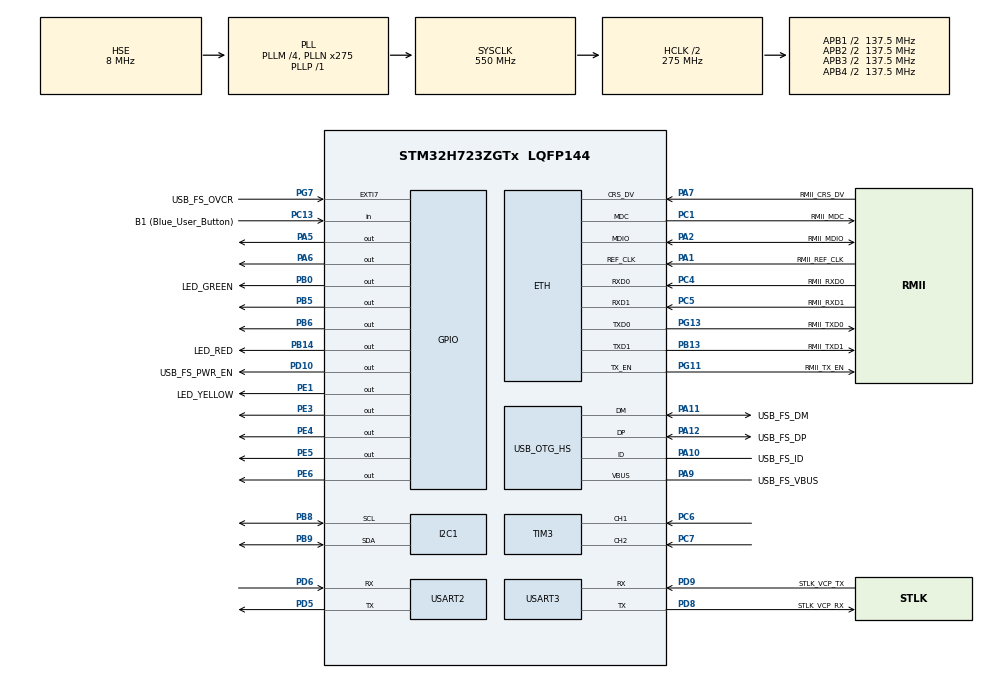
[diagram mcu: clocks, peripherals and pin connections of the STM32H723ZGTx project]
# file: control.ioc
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ETH.MediaInterface=HAL_ETH_RMII_MODE
FREERTOS.Tasks01=defaultTask,24,128,StartDefaultTask,Default,NULL,Dynamic,NULL,NULL;parsingTask,47,128,StartParsingTask,Default,NULL,Dynamic,NULL,NULL;armTask,42,256,StartArmTask,Default,NULL,Dynamic,NULL,NULL;gripperTask,40,128,StartGripperTask,Default,NULL,Dynamic,NULL,NULL;step1Task,40,128,StartStep1Task,Default,NULL,Dynamic,NULL,NULL;step2Task,40,128,startStep2Task,Default,NULL,Dynamic,NULL,NULL
FREERTOS.configUSE_NEWLIB_REENTRANT=1
I2C1.Timing=0x60404E72
Mcu.Family=STM32H7
Mcu.Name=STM32H723ZGTx
Mcu.Package=LQFP144
NVIC.PriorityGroup=NVIC_PRIORITYGROUP_4
NVIC.TIM6_DAC_IRQn=true\:15\:0\:false\:false\:true\:false\:false\:true\:true
NVIC.TimeBase=TIM6_DAC_IRQn
NVIC.TimeBaseIP=TIM6
NVIC.USART2_IRQn=true\:5\:0\:false\:false\:true\:true\:true\:true\:true
PA1.GPIO_Label=RMII_REF_CLK
PA1.Mode=RMII
PA1.Signal=ETH_REF_CLK
PA10.GPIO_Label=USB_FS_ID
PA10.Mode=OTG/Dual-Role-Device-FS
PA10.Signal=USB_OTG_HS_ID
PA11.GPIO_Label=USB_FS_DM
PA11.Mode=OTG/Dual-Role-Device-FS
PA11.Signal=USB_OTG_HS_DM
PA12.GPIO_Label=USB_FS_DP
PA12.Mode=OTG/Dual-Role-Device-FS
PA12.Signal=USB_OTG_HS_DP
PA13(JTMS/SWDIO).GPIO_Label=SWDIO
PA13(JTMS/SWDIO).Mode=Trace_Asynchronous_SW
PA13(JTMS/SWDIO).Signal=DEBUG_JTMS-SWDIO
PA14(JTCK/SWCLK).GPIO_Label=SWCLK
PA14(JTCK/SWCLK).Mode=Trace_Asynchronous_SW
PA14(JTCK/SWCLK).Signal=DEBUG_JTCK-SWCLK
PA2.GPIO_Label=RMII_MDIO
PA2.Mode=RMII
PA2.Signal=ETH_MDIO
PA5.Signal=GPIO_Output
PA6.Signal=GPIO_Output
PA7.GPIO_Label=RMII_CRS_DV
PA7.Mode=RMII
PA7.Signal=ETH_CRS_DV
PA9.GPIO_Label=USB_FS_VBUS
PA9.Mode=Activate_VBUS_FS
PA9.Signal=USB_OTG_HS_VBUS
PB0.GPIO_Label=LED_GREEN
PB0.Signal=GPIO_Output
PB13.GPIO_Label=RMII_TXD1
PB13.Mode=RMII
PB13.Signal=ETH_TXD1
PB14.GPIO_Label=LED_RED
PB14.Signal=GPIO_Output
PB3(JTDO/TRACESWO).GPIO_Label=SWO
PB3(JTDO/TRACESWO).Mode=Trace_Asynchronous_SW
PB3(JTDO/TRACESWO).Signal=DEBUG_JTDO-SWO
PB5.Signal=GPIO_Output
PB6.Signal=GPIO_Output
PB8.GPIO_Mode=GPIO_MODE_AF_OD
PB8.GPIO_Pu=GPIO_PULLUP
PB8.Mode=I2C
PB8.Signal=I2C1_SCL
PB9.GPIO_Pu=GPIO_PULLUP
PB9.Mode=I2C
PB9.Signal=I2C1_SDA
PC1.GPIO_Label=RMII_MDC
PC1.Mode=RMII
PC1.Signal=ETH_MDC
PC13.GPIO_Label=B1 (Blue_User_Button)
PC13.Signal=GPIO_Input
PC14-OSC32_IN.Mode=LSE-External-Oscillator
PC14-OSC32_IN.Signal=RCC_OSC32_IN
PC15-OSC32_OUT.Mode=LSE-External-Oscillator
PC15-OSC32_OUT.Signal=RCC_OSC32_OUT
PC4.GPIO_Label=RMII_RXD0
PC4.Mode=RMII
PC4.Signal=ETH_RXD0
PC5.GPIO_Label=RMII_RXD1
PC5.Mode=RMII
PC5.Signal=ETH_RXD1
PC6.Signal=S_TIM3_CH1
PC7.Signal=S_TIM3_CH2
PD10.GPIO_Label=USB_FS_PWR_EN
PD10.Signal=GPIO_Output
PD5.Mode=Asynchronous
PD5.Signal=USART2_TX
PD6.Mode=Asynchronous
PD6.Signal=USART2_RX
PD8.GPIO_Label=STLK_VCP_RX
PD8.Mode=Asynchronous
PD8.Signal=USART3_TX
PD9.GPIO_Label=STLK_VCP_TX
PD9.Mode=Asynchronous
PD9.Signal=USART3_RX
PE1.GPIO_Label=LED_YELLOW
PE1.Signal=GPIO_Output
PE3.Signal=GPIO_Output
PE4.Signal=GPIO_Output
PE5.Signal=GPIO_Output
PE6.Signal=GPIO_Output
PG11.GPIO_Label=RMII_TX_EN
PG11.Mode=RMII
PG11.Signal=ETH_TX_EN
PG13.GPIO_Label=RMII_TXD0
PG13.Mode=RMII
PG13.Signal=ETH_TXD0
PG7.GPIO_Label=USB_FS_OVCR
PG7.Signal=GPXTI7
PH0-OSC_IN.GPIO_Label=MCO
PH0-OSC_IN.Mode=HSE-External-Clock-Source
PH0-OSC_IN.Signal=RCC_OSC_IN
PH1-OSC_OUT.Signal=RCC_OSC_OUT
ProjectManager.HeapSize=0x200
ProjectManager.StackSize=0x400
ProjectManager.TargetToolchain=STM32CubeIDE
RCC.ADCFreq_Value=76000000
RCC.APB1Freq_Value=137500000
RCC.APB2Freq_Value=137500000
RCC.APB3Freq_Value=137500000
RCC.APB4Freq_Value=137500000
RCC.CortexFreq_Value=550000000
RCC.D1PPRE=RCC_APB3_DIV2
RCC.D2PPRE1=RCC_APB1_DIV2
RCC.D2PPRE2=RCC_APB2_DIV2
RCC.D3PPRE=RCC_APB4_DIV2
RCC.DIVM1=4
RCC.DIVM2=1
RCC.DIVN1=275
RCC.DIVN2=19
RCC.DIVP1=1
RCC.DIVQ1=4
RCC.HCLKFreq_Value=275000000
RCC.HPRE=RCC_HCLK_DIV2
RCC.HSE_VALUE=8000000
RCC.PLLFRACN=0
RCC.PLLSourceVirtual=RCC_PLLSOURCE_HSE
RCC.SYSCLKFreq_VALUE=550000000
RCC.SYSCLKSource=RCC_SYSCLKSOURCE_PLLCLK
RCC.USBCLockSelection=RCC_USBCLKSOURCE_HSI48
RCC.USBFreq_Value=48000000
SH.S_TIM3_CH1.0=TIM3_CH1,Encoder_Interface
SH.S_TIM3_CH2.0=TIM3_CH2,Encoder_Interface
TIM1.Prescaler=71
TIM3.EncoderMode=TIM_ENCODERMODE_TI12
TIM4.Prescaler=71
USART2.VirtualMode-Asynchronous=VM_ASYNC
USART3.VirtualMode-Asynchronous=VM_ASYNC
VP_FREERTOS_VS_CMSIS_V2.Mode=CMSIS_V2
VP_SYS_VS_tim6.Mode=TIM6
VP_TIM1_VS_ClockSourceINT.Mode=Internal
VP_TIM4_VS_ClockSourceINT.Mode=Internal
board=NUCLEO-H723ZG

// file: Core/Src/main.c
/* USER CODE BEGIN Header */
/**
  ******************************************************************************
  * @file           : main.c
  * @brief          : Main program body
  ******************************************************************************
  * @attention
  *
  * Copyright (c) 2024 STMicroelectronics.
  * All rights reserved.
  *
  * This software is licensed under terms that can be found in the LICENSE file
  * in the root directory of this software component.
  * If no LICENSE file comes with this software, it is provided AS-IS.
  *
  ******************************************************************************
  */
/* USER CODE END Header */
#include "main.h"
#include "string.h"
#include "cmsis_os.h"

/* USER CODE BEGIN Includes */
//servo board driver
#include "pca9685.h"
//for IK
#include <math.h>
#include <stdbool.h>

#include <stdio.h>
#include <stdlib.h>
#include <stdio.h>
//#include <iostream>
//#include <cstring>
//#include <cmath>

/* USER CODE END Includes */

/* USER CODE BEGIN PD */

// Define constants for the links inverse kinematics
#define L12 15.0  // Length of link 1
#define L23 15.0   // Length of link 2
#define L34 8.5   // Length of link 3

#define STEPS_PER_REVS 4096 //motor and step type defined
#define HALF_STEPS 8
#define MIN_TO_US (60*1000000)
#define NUM_SEQ (STEPS_PER_REVS/HALF_STEPS)

//define pins for first stepper
// ---- for synchronized step
#define M1_IN1_PIN GPIO_PIN_3
#define M1_IN1_PORT GPIOE
#define M1_IN2_PIN GPIO_PIN_4
#define M1_IN2_PORT GPIOE
#define M1_IN3_PIN GPIO_PIN_5
#define M1_IN3_PORT GPIOE
#define M1_IN4_PIN GPIO_PIN_6
#define M1_IN4_PORT GPIOE
int stepNumber;          // which step the motor is on

//define pins for second stepper
#define M2_IN1_PIN GPIO_PIN_5
#define M2_IN1_PORT GPIOA
#define M2_IN2_PIN GPIO_PIN_6
#define M2_IN2_PORT GPIOA
#define M2_IN3_PIN GPIO_PIN_5
#define M2_IN3_PORT GPIOB
#define M2_IN4_PIN GPIO_PIN_6
#define M2_IN4_PORT GPIOB

#define TOTAL_REV_ANGLE 360

/* USER CODE END PD */

#if defined ( __ICCARM__ ) /*!< IAR Compiler */
#pragma location=0x30000000
ETH_DMADescTypeDef  DMARxDscrTab[ETH_RX_DESC_CNT]; /* Ethernet Rx DMA Descriptors */
#pragma location=0x30000200
ETH_DMADescTypeDef  DMATxDscrTab[ETH_TX_DESC_CNT]; /* Ethernet Tx DMA Descriptors */

#elif defined ( __CC_ARM )  /* MDK ARM Compiler */

__attribute__((at(0x30000000))) ETH_DMADescTypeDef  DMARxDscrTab[ETH_RX_DESC_CNT]; /* Ethernet Rx DMA Descriptors */
__attribute__((at(0x30000200))) ETH_DMADescTypeDef  DMATxDscrTab[ETH_TX_DESC_CNT]; /* Ethernet Tx DMA Descriptors */

#elif defined ( __GNUC__ ) /* GNU Compiler */
ETH_DMADescTypeDef DMARxDscrTab[ETH_RX_DESC_CNT] __attribute__((section(".RxDecripSection"))); /* Ethernet Rx DMA Descriptors */
ETH_DMADescTypeDef DMATxDscrTab[ETH_TX_DESC_CNT] __attribute__((section(".TxDecripSection")));   /* Ethernet Tx DMA Descriptors */

#endif

ETH_TxPacketConfig TxConfig;

ETH_HandleTypeDef heth;

I2C_HandleTypeDef hi2c1;

TIM_HandleTypeDef htim1;
TIM_HandleTypeDef htim3;
TIM_HandleTypeDef htim4;

UART_HandleTypeDef huart2;
UART_HandleTypeDef huart3;

/* Definitions for defaultTask */
osThreadId_t defaultTaskHandle;
const osThreadAttr_t defaultTask_attributes = {
  .name = "defaultTask",
  .stack_size = 128 * 4,
  .priority = (osPriority_t) osPriorityNormal,
};
/* Definitions for parsingTask */
osThreadId_t parsingTaskHandle;
const osThreadAttr_t parsingTask_attributes = {
  .name = "parsingTask",
  .stack_size = 128 * 4,
  .priority = (osPriority_t) osPriorityHigh7,
};
/* Definitions for armTask */
osThreadId_t armTaskHandle;
const osThreadAttr_t armTask_attributes = {
  .name = "armTask",
  .stack_size = 256 * 4,
  .priority = (osPriority_t) osPriorityHigh2,
};
/* Definitions for gripperTask */
osThreadId_t gripperTaskHandle;
const osThreadAttr_t gripperTask_attributes = {
  .name = "gripperTask",
  .stack_size = 128 * 4,
  .priority = (osPriority_t) osPriorityHigh,
};
/* Definitions for step1Task */
osThreadId_t step1TaskHandle;
const osThreadAttr_t step1Task_attributes = {
  .name = "step1Task",
  .stack_size = 128 * 4,
  .priority = (osPriority_t) osPriorityHigh,
};
/* Definitions for step2Task */
osThreadId_t step2TaskHandle;
const osThreadAttr_t step2Task_attributes = {
  .name = "step2Task",
  .stack_size = 128 * 4,
  .priority = (osPriority_t) osPriorityHigh,
};
/* USER CODE BEGIN PV */

//for handling UART and StartArmTask synchronization
osSemaphoreId_t armTaskSemaphore;
//semaphore for stepper motor control
osSemaphoreId_t stepperTask1Semaphore;
osSemaphoreId_t stepperTask2Semaphore;

//buffer to store UART messages
uint8_t uartRxBuffer[17];

/* USER CODE END PV */

void SystemClock_Config(void);
static void MX_GPIO_Init(void);
static void MX_ETH_Init(void);
static void MX_USART3_UART_Init(void);
static void MX_USB_OTG_HS_USB_Init(void);
static void MX_TIM1_Init(void);
static void MX_I2C1_Init(void);
static void MX_USART2_UART_Init(void);
static void MX_TIM3_Init(void);
static void MX_TIM4_Init(void);
void StartDefaultTask(void *argument);
void StartParsingTask(void *argument);
void StartArmTask(void *argument);
void StartGripperTask(void *argument);
void StartStep1Task(void *argument);
void startStep2Task(void *argument);

/* USER CODE BEGIN 0 */

// Function to calculate inverse kinematics
bool ikinematics(float positionx, float positiony, float gamma, float *J1, float *J2, float *J3) {
    float xe = positionx;
    float ye = positiony;
    float g = gamma;

    // Calculate the position P3
    float x3 = xe - (L34 * cosf(g * M_PI / 180.0));  // Convert gamma to radians
    float y3 = ye - (L34 * sinf(g * M_PI / 180.0));
    float C = sqrtf(x3 * x3 + y3 * y3);

    if ((L12 + L23) > C) {
        // Calculate angles a and B
        float a = acosf((L12 * L12 + L23 * L23 - C * C) / (2 * L12 * L23));
        float B = acosf((L12 * L12 + C * C - L23 * L23) / (2 * L12 * C));

        // Joint angles for elbow-down configuration
        float J1a = ((atan2f(y3, x3) - B)* 180.0 / M_PI);
        float J2a = 180.0 - (a * 180.0 / M_PI);
        float J3a = g - J1a - J2a;

        // Joint angles for elbow-up configuration
        float J1b = ((atan2f(y3, x3) + B)* 180.0 / M_PI);
        float J2b = -(180.0 - (a * 180.0 / M_PI));
        float J3b = g - J1b - J2b;

        // Output the results (for example, printing to the serial monitor)
//        printf("The joint 1, 2, and 3 angles are (%f, %f, %f) respectively for elbow-down configuration.\n", J1a, J2a, J3a);
//        printf("The joint 1, 2, and 3 angles are (%f, %f, %f) respectively for elbow-up configuration.\n", J1b, J2b, J3b);

        //return A-Configuration for now
        *J1 = J1a;
        *J2 = J2a;
        *J3 = J3a;

        //return success
        return true;

    } else {
//        printf("     Dimension error!\n");
//        printf("     End-effector is outside the workspace.\n");
    	return false;
    }
}

//delay function for stepper motor control
void delay(uint16_t us)
{
	//init counter to 0, wait for it to reach designated val,
	__HAL_TIM_SET_COUNTER(&htim1, 0);
	while(__HAL_TIM_GET_COUNTER(&htim1) < us);

}

//functions as delay (lower delay = faster, higher delay = slower)
//min speed 1 rpm, max speed ~13 rpm, want to go from microseconds/step (us) to rev/min
void set_rpm(int rpm)
{
//	delay(MIN_TO_US/(STEPS_PER_REVS*rpm));

//	osDelay(MIN_TO_US/(STEPS_PER_REVS*rpm));
//	osDelay(pdMS_TO_TICKS(500));
//	osDelay(MIN_TO_US / (STEPS_PER_REVS * rpm) / 1000); // Convert µs to ms

	uint32_t delay_us = (60 * 1000000) / (STEPS_PER_REVS * rpm);
	delay(delay_us); // Use microsecond-precision delay
}

void motorDelay(uint32_t delay)
{
//    __HAL_TIM_SET_COUNTER(&htim1, 0);
//    while (__HAL_TIM_GET_COUNTER(&htim1) < delay);
	  //works for synchro between motors
      osDelay(pdMS_TO_TICKS(delay / 1000));  // Convert µs to RTOS ticks
}

void motor2Delay(uint32_t delay)
{
//    __HAL_TIM_SET_COUNTER(&htim4, 0);
//    while (__HAL_TIM_GET_COUNTER(&htim4) < delay);
      osDelay(pdMS_TO_TICKS(delay / 1000));  // Convert µs to RTOS ticks
}

void motorOff()
{
    // Switch off the idle current to the motor
    // Otherwise L298N module will heat up
    HAL_GPIO_WritePin(M1_IN1_PORT, M1_IN1_PIN, GPIO_PIN_RESET); // IN1
    HAL_GPIO_WritePin(M1_IN2_PORT, M1_IN2_PIN, GPIO_PIN_RESET); // IN2
    HAL_GPIO_WritePin(M1_IN3_PORT, M1_IN3_PIN, GPIO_PIN_RESET); // IN3
    HAL_GPIO_WritePin(M1_IN4_PORT, M1_IN4_PIN, GPIO_PIN_RESET); // IN4

    HAL_GPIO_WritePin(M2_IN1_PORT, M2_IN1_PIN, GPIO_PIN_RESET); // IN1
    HAL_GPIO_WritePin(M2_IN2_PORT, M2_IN2_PIN, GPIO_PIN_RESET); // IN2
    HAL_GPIO_WritePin(M2_IN3_PORT, M2_IN3_PIN, GPIO_PIN_RESET); // IN3
    HAL_GPIO_WritePin(M2_IN4_PORT, M2_IN4_PIN, GPIO_PIN_RESET); // IN4
}

void stepCCV (int steps, uint16_t delay, GPIO_TypeDef* IN1_PORT, uint16_t IN1_PIN, GPIO_TypeDef* IN2_PORT, uint16_t IN2_PIN, GPIO_TypeDef* IN3_PORT, uint16_t IN3_PIN, GPIO_TypeDef* IN4_PORT, uint16_t IN4_PIN)
{
//	for (int x = 0; x < steps; x++) {
//		switch (x % 4) {
//			case 0: // Energize IN4
//				HAL_GPIO_WritePin(IN1_PORT, IN1_PIN, GPIO_PIN_RESET);
//				HAL_GPIO_WritePin(IN2_PORT, IN2_PIN, GPIO_PIN_RESET);
//				HAL_GPIO_WritePin(IN3_PORT, IN3_PIN, GPIO_PIN_SET);
//				HAL_GPIO_WritePin(IN4_PORT, IN4_PIN, GPIO_PIN_RESET);
//				break;
//			case 1: // Energize IN3
//				HAL_GPIO_WritePin(IN1_PORT, IN1_PIN, GPIO_PIN_RESET);
//				HAL_GPIO_WritePin(IN2_PORT, IN2_PIN, GPIO_PIN_SET);
//				HAL_GPIO_WritePin(IN3_PORT, IN3_PIN, GPIO_PIN_RESET);
//				HAL_GPIO_WritePin(IN4_PORT, IN4_PIN, GPIO_PIN_RESET);
//				break;
//			case 2: // Energize IN2
//				HAL_GPIO_WritePin(IN1_PORT, IN1_PIN, GPIO_PIN_RESET);
//				HAL_GPIO_WritePin(IN2_PORT, IN2_PIN, GPIO_PIN_RESET);
//				HAL_GPIO_WritePin(IN3_PORT, IN3_PIN, GPIO_PIN_RESET);
//				HAL_GPIO_WritePin(IN4_PORT, IN4_PIN, GPIO_PIN_SET);
//				break;
//			case 3: // Energize IN1
//				HAL_GPIO_WritePin(IN1_PORT, IN1_PIN, GPIO_PIN_SET);
//				HAL_GPIO_WritePin(IN2_PORT, IN2_PIN, GPIO_PIN_RESET);
//				HAL_GPIO_WritePin(IN3_PORT, IN3_PIN, GPIO_PIN_RESET);
//				HAL_GPIO_WritePin(IN4_PORT, IN4_PIN, GPIO_PIN_RESET);
//				break;
//		}
//		motorDelay(delay); // Delay between steps
//	}
	for (int x = 0; x < steps; x++) {
		switch (x % 4) {
			case 0: // Energize IN4
				HAL_GPIO_WritePin(IN1_PORT, IN1_PIN, GPIO_PIN_RESET);
				HAL_GPIO_WritePin(IN2_PORT, IN2_PIN, GPIO_PIN_SET);
				HAL_GPIO_WritePin(IN3_PORT, IN3_PIN, GPIO_PIN_SET);
				HAL_GPIO_WritePin(IN4_PORT, IN4_PIN, GPIO_PIN_RESET);
				break;
			case 1: // Energize IN3
				HAL_GPIO_WritePin(IN1_PORT, IN1_PIN, GPIO_PIN_RESET);
				HAL_GPIO_WritePin(IN2_PORT, IN2_PIN, GPIO_PIN_SET);
				HAL_GPIO_WritePin(IN3_PORT, IN3_PIN, GPIO_PIN_RESET);
				HAL_GPIO_WritePin(IN4_PORT, IN4_PIN, GPIO_PIN_SET);
				break;
			case 2: // Energize IN2
				HAL_GPIO_WritePin(IN1_PORT, IN1_PIN, GPIO_PIN_SET);
				HAL_GPIO_WritePin(IN2_PORT, IN2_PIN, GPIO_PIN_RESET);
				HAL_GPIO_WritePin(IN3_PORT, IN3_PIN, GPIO_PIN_RESET);
				HAL_GPIO_WritePin(IN4_PORT, IN4_PIN, GPIO_PIN_SET);
				break;
			case 3: // Energize IN1
				HAL_GPIO_WritePin(IN1_PORT, IN1_PIN, GPIO_PIN_SET);
				HAL_GPIO_WritePin(IN2_PORT, IN2_PIN, GPIO_PIN_RESET);
				HAL_GPIO_WritePin(IN3_PORT, IN3_PIN, GPIO_PIN_SET);
				HAL_GPIO_WritePin(IN4_PORT, IN4_PIN, GPIO_PIN_RESET);
				break;
		}
		motorDelay(delay); // Delay between steps
	}

}

void stepCV (int steps, uint16_t delay, GPIO_TypeDef* IN1_PORT, uint16_t IN1_PIN, GPIO_TypeDef* IN2_PORT, uint16_t IN2_PIN, GPIO_TypeDef* IN3_PORT, uint16_t IN3_PIN, GPIO_TypeDef* IN4_PORT, uint16_t IN4_PIN)
{
//    for (int x = 0; x < steps; x++) {
//        switch (x % 4) {
//            case 0: // Energize IN1
//                HAL_GPIO_WritePin(IN1_PORT, IN1_PIN, GPIO_PIN_SET);
//                HAL_GPIO_WritePin(IN2_PORT, IN2_PIN, GPIO_PIN_RESET);
//                HAL_GPIO_WritePin(IN3_PORT, IN3_PIN, GPIO_PIN_RESET);
//                HAL_GPIO_WritePin(IN4_PORT, IN4_PIN, GPIO_PIN_RESET);
//                break;
//            case 1: // Energize IN2
//                HAL_GPIO_WritePin(IN1_PORT, IN1_PIN, GPIO_PIN_RESET);
//                HAL_GPIO_WritePin(IN2_PORT, IN2_PIN, GPIO_PIN_RESET);
//                HAL_GPIO_WritePin(IN3_PORT, IN3_PIN, GPIO_PIN_RESET);
//                HAL_GPIO_WritePin(IN4_PORT, IN4_PIN, GPIO_PIN_SET);
//                break;
//            case 2: // Energize IN3
//                HAL_GPIO_WritePin(IN1_PORT, IN1_PIN, GPIO_PIN_RESET);
//                HAL_GPIO_WritePin(IN2_PORT, IN2_PIN, GPIO_PIN_SET);
//                HAL_GPIO_WritePin(IN3_PORT, IN3_PIN, GPIO_PIN_RESET);
//                HAL_GPIO_WritePin(IN4_PORT, IN4_PIN, GPIO_PIN_RESET);
//                break;
//            case 3: // Energize IN4
//                HAL_GPIO_WritePin(IN1_PORT, IN1_PIN, GPIO_PIN_RESET);
//                HAL_GPIO_WritePin(IN2_PORT, IN2_PIN, GPIO_PIN_RESET);
//                HAL_GPIO_WritePin(IN3_PORT, IN3_PIN, GPIO_PIN_SET);
//                HAL_GPIO_WritePin(IN4_PORT, IN4_PIN, GPIO_PIN_RESET);
//                break;
//        }
//        motorDelay(delay); // Delay between steps
//    }

	//working
//	for (int x = 0; x < steps; x++) {
//		switch (x % 4) {
//			case 0: // Energize IN4
//				HAL_GPIO_WritePin(IN1_PORT, IN1_PIN, GPIO_PIN_RESET);
//				HAL_GPIO_WritePin(IN2_PORT, IN2_PIN, GPIO_PIN_RESET);
//				HAL_GPIO_WritePin(IN3_PORT, IN3_PIN, GPIO_PIN_SET);
//				HAL_GPIO_WritePin(IN4_PORT, IN4_PIN, GPIO_PIN_RESET);
//				break;
//			case 1: // Energize IN3
//				HAL_GPIO_WritePin(IN1_PORT, IN1_PIN, GPIO_PIN_SET);
//				HAL_GPIO_WritePin(IN2_PORT, IN2_PIN, GPIO_PIN_RESET);
//				HAL_GPIO_WritePin(IN3_PORT, IN3_PIN, GPIO_PIN_RESET);
//				HAL_GPIO_WritePin(IN4_PORT, IN4_PIN, GPIO_PIN_RESET);
//				break;
//			case 2: // Energize IN2
//				HAL_GPIO_WritePin(IN1_PORT, IN1_PIN, GPIO_PIN_RESET);
//				HAL_GPIO_WritePin(IN2_PORT, IN2_PIN, GPIO_PIN_RESET);
//				HAL_GPIO_WritePin(IN3_PORT, IN3_PIN, GPIO_PIN_RESET);
//				HAL_GPIO_WritePin(IN4_PORT, IN4_PIN, GPIO_PIN_SET);
//				break;
//			case 3: // Energize IN1
//				HAL_GPIO_WritePin(IN1_PORT, IN1_PIN, GPIO_PIN_RESET);
//				HAL_GPIO_WritePin(IN2_PORT, IN2_PIN, GPIO_PIN_SET);
//				HAL_GPIO_WritePin(IN3_PORT, IN3_PIN, GPIO_PIN_RESET);
//				HAL_GPIO_WritePin(IN4_PORT, IN4_PIN, GPIO_PIN_RESET);
//				break;
//		}
//		motorDelay(delay); // Delay between steps
//	}

	for (int x = 0; x < steps; x++) {
		switch (x % 4) {
			case 0: // Energize IN4
				HAL_GPIO_WritePin(IN1_PORT, IN1_PIN, GPIO_PIN_RESET);
				HAL_GPIO_WritePin(IN2_PORT, IN2_PIN, GPIO_PIN_SET);
				HAL_GPIO_WritePin(IN3_PORT, IN3_PIN, GPIO_PIN_SET);
				HAL_GPIO_WritePin(IN4_PORT, IN4_PIN, GPIO_PIN_RESET);
				break;
			case 1: // Energize IN3
				HAL_GPIO_WritePin(IN1_PORT, IN1_PIN, GPIO_PIN_SET);
				HAL_GPIO_WritePin(IN2_PORT, IN2_PIN, GPIO_PIN_RESET);
				HAL_GPIO_WritePin(IN3_PORT, IN3_PIN, GPIO_PIN_SET);
				HAL_GPIO_WritePin(IN4_PORT, IN4_PIN, GPIO_PIN_RESET);
				break;
			case 2: // Energize IN2
				HAL_GPIO_WritePin(IN1_PORT, IN1_PIN, GPIO_PIN_SET);
				HAL_GPIO_WritePin(IN2_PORT, IN2_PIN, GPIO_PIN_RESET);
				HAL_GPIO_WritePin(IN3_PORT, IN3_PIN, GPIO_PIN_RESET);
				HAL_GPIO_WritePin(IN4_PORT, IN4_PIN, GPIO_PIN_SET);
				break;
			case 3: // Energize IN1
				HAL_GPIO_WritePin(IN1_PORT, IN1_PIN, GPIO_PIN_RESET);
				HAL_GPIO_WritePin(IN2_PORT, IN2_PIN, GPIO_PIN_SET);
				HAL_GPIO_WritePin(IN3_PORT, IN3_PIN, GPIO_PIN_RESET);
				HAL_GPIO_WritePin(IN4_PORT, IN4_PIN, GPIO_PIN_SET);
				break;
		}
		motorDelay(delay); // Delay between steps
	}
}

void step2CCV (int steps, uint16_t delay, GPIO_TypeDef* IN1_PORT, uint16_t IN1_PIN, GPIO_TypeDef* IN2_PORT, uint16_t IN2_PIN, GPIO_TypeDef* IN3_PORT, uint16_t IN3_PIN, GPIO_TypeDef* IN4_PORT, uint16_t IN4_PIN)
{

	for (int x = 0; x < steps; x++) {
		switch (x % 4) {
			case 0: // Energize IN4
				HAL_GPIO_WritePin(IN1_PORT, IN1_PIN, GPIO_PIN_RESET);
				HAL_GPIO_WritePin(IN2_PORT, IN2_PIN, GPIO_PIN_SET);
				HAL_GPIO_WritePin(IN3_PORT, IN3_PIN, GPIO_PIN_SET);
				HAL_GPIO_WritePin(IN4_PORT, IN4_PIN, GPIO_PIN_RESET);
				break;
			case 1: // Energize IN3
				HAL_GPIO_WritePin(IN1_PORT, IN1_PIN, GPIO_PIN_RESET);
				HAL_GPIO_WritePin(IN2_PORT, IN2_PIN, GPIO_PIN_SET);
				HAL_GPIO_WritePin(IN3_PORT, IN3_PIN, GPIO_PIN_RESET);
				HAL_GPIO_WritePin(IN4_PORT, IN4_PIN, GPIO_PIN_SET);
				break;
			case 2: // Energize IN2
				HAL_GPIO_WritePin(IN1_PORT, IN1_PIN, GPIO_PIN_SET);
				HAL_GPIO_WritePin(IN2_PORT, IN2_PIN, GPIO_PIN_RESET);
				HAL_GPIO_WritePin(IN3_PORT, IN3_PIN, GPIO_PIN_RESET);
				HAL_GPIO_WritePin(IN4_PORT, IN4_PIN, GPIO_PIN_SET);
				break;
			case 3: // Energize IN1
				HAL_GPIO_WritePin(IN1_PORT, IN1_PIN, GPIO_PIN_SET);
				HAL_GPIO_WritePin(IN2_PORT, IN2_PIN, GPIO_PIN_RESET);
				HAL_GPIO_WritePin(IN3_PORT, IN3_PIN, GPIO_PIN_SET);
				HAL_GPIO_WritePin(IN4_PORT, IN4_PIN, GPIO_PIN_RESET);
				break;
		}
		motor2Delay(delay); // Delay between steps
	}

}

void step2CV (int steps, uint16_t delay, GPIO_TypeDef* IN1_PORT, uint16_t IN1_PIN, GPIO_TypeDef* IN2_PORT, uint16_t IN2_PIN, GPIO_TypeDef* IN3_PORT, uint16_t IN3_PIN, GPIO_TypeDef* IN4_PORT, uint16_t IN4_PIN)
{
//	for (int x = 0; x < steps; x++) {
//		switch (x % 4) {
//			case 0: // Energize IN4
//				HAL_GPIO_WritePin(IN1_PORT, IN1_PIN, GPIO_PIN_RESET);
//				HAL_GPIO_WritePin(IN2_PORT, IN2_PIN, GPIO_PIN_RESET);
//				HAL_GPIO_WritePin(IN3_PORT, IN3_PIN, GPIO_PIN_SET);
//				HAL_GPIO_WritePin(IN4_PORT, IN4_PIN, GPIO_PIN_RESET);
//				break;
//			case 1: // Energize IN3
//				HAL_GPIO_WritePin(IN1_PORT, IN1_PIN, GPIO_PIN_SET);
//				HAL_GPIO_WritePin(IN2_PORT, IN2_PIN, GPIO_PIN_RESET);
//				HAL_GPIO_WritePin(IN3_PORT, IN3_PIN, GPIO_PIN_RESET);
//				HAL_GPIO_WritePin(IN4_PORT, IN4_PIN, GPIO_PIN_RESET);
//				break;
//			case 2: // Energize IN2
//				HAL_GPIO_WritePin(IN1_PORT, IN1_PIN, GPIO_PIN_RESET);
//				HAL_GPIO_WritePin(IN2_PORT, IN2_PIN, GPIO_PIN_RESET);
//				HAL_GPIO_WritePin(IN3_PORT, IN3_PIN, GPIO_PIN_RESET);
//				HAL_GPIO_WritePin(IN4_PORT, IN4_PIN, GPIO_PIN_SET);
//				break;
//			case 3: // Energize IN1
//				HAL_GPIO_WritePin(IN1_PORT, IN1_PIN, GPIO_PIN_RESET);
//				HAL_GPIO_WritePin(IN2_PORT, IN2_PIN, GPIO_PIN_SET);
//				HAL_GPIO_WritePin(IN3_PORT, IN3_PIN, GPIO_PIN_RESET);
//				HAL_GPIO_WritePin(IN4_PORT, IN4_PIN, GPIO_PIN_RESET);
//				break;
//		}
//		motor2Delay(delay); // Delay between steps
//	}

	for (int x = 0; x < steps; x++) {
		switch (x % 4) {
			case 0: // Energize IN4
				HAL_GPIO_WritePin(IN1_PORT, IN1_PIN, GPIO_PIN_RESET);
				HAL_GPIO_WritePin(IN2_PORT, IN2_PIN, GPIO_PIN_SET);
				HAL_GPIO_WritePin(IN3_PORT, IN3_PIN, GPIO_PIN_SET);
				HAL_GPIO_WritePin(IN4_PORT, IN4_PIN, GPIO_PIN_RESET);
				break;
			case 1: // Energize IN3
				HAL_GPIO_WritePin(IN1_PORT, IN1_PIN, GPIO_PIN_SET);
				HAL_GPIO_WritePin(IN2_PORT, IN2_PIN, GPIO_PIN_RESET);
				HAL_GPIO_WritePin(IN3_PORT, IN3_PIN, GPIO_PIN_SET);
				HAL_GPIO_WritePin(IN4_PORT, IN4_PIN, GPIO_PIN_RESET);
				break;
			case 2: // Energize IN2
				HAL_GPIO_WritePin(IN1_PORT, IN1_PIN, GPIO_PIN_SET);
				HAL_GPIO_WritePin(IN2_PORT, IN2_PIN, GPIO_PIN_RESET);
				HAL_GPIO_WritePin(IN3_PORT, IN3_PIN, GPIO_PIN_RESET);
				HAL_GPIO_WritePin(IN4_PORT, IN4_PIN, GPIO_PIN_SET);
				break;
			case 3: // Energize IN1
				HAL_GPIO_WritePin(IN1_PORT, IN1_PIN, GPIO_PIN_RESET);
				HAL_GPIO_WritePin(IN2_PORT, IN2_PIN, GPIO_PIN_SET);
				HAL_GPIO_WritePin(IN3_PORT, IN3_PIN, GPIO_PIN_RESET);
				HAL_GPIO_WritePin(IN4_PORT, IN4_PIN, GPIO_PIN_SET);
				break;
		}
		motor2Delay(delay); // Delay between steps
	}
}

/*
//controlling motor with angle specified
void step_angle_control(float angle, int direction, int rpm)
{
	//rotating 360 degrees in 512 sequences of 8 steps each
	float anglesPerSeq = TOTAL_REV_ANGLE/NUM_SEQ;

	int numSeq = (int)(angle/anglesPerSeq);

	//direction control
	for (int seq=0; seq<numSeq; seq++)
	{
		if (direction == 0)  // for clockwise
		{
			for (int step=7; step>=0; step--) {
				half_stepper_control(step);
				set_rpm(rpm);
			}
		}
		else if (direction == 1)  // for anti-clockwise
		{
			for (int step=0; step<=7; step++)
			{
				half_stepper_control(step);
				set_rpm(rpm);
			}
		}
	}
}
*/

/*
//keep track of current stepper angle
float currAngle = 0;
void Stepper_rotate (int angle, int rpm)
{
	int deltaAngle = 0;
	deltaAngle = angle-currAngle;  // calculate the angle by which the motor needed to be rotated
	if (deltaAngle > 0.71)  // CW
	{
		step_angle_control(deltaAngle, 0, rpm);
		currAngle = angle;  // save the angle as current angle
	}
	else if (deltaAngle < 0.71) // CCW
	{
		deltaAngle = -(deltaAngle);
		step_angle_control(deltaAngle, 1, rpm);
		currAngle = angle;
	}
}
*/

/* UART Interrupt Callback */
void HAL_UART_RxCpltCallback(UART_HandleTypeDef *huart) {
    if (huart->Instance == USART2) {
        if(huart->ErrorCode == HAL_UART_ERROR_NONE) {
        	//release arm task
            osSemaphoreRelease(armTaskSemaphore);
        }
        //potentially resetting UART reception after buffer has been cleared
        HAL_UART_Receive_IT(&huart2, uartRxBuffer, sizeof(uartRxBuffer));
    }
}

//clear buffer after every input
void clearBuffer(uint8_t *buffer, size_t size) {
	memset(buffer, 0, size);
}

/* USER CODE END 0 */

int main(void)
{

  /* MCU Configuration--------------------------------------------------------*/

  /* Reset of all peripherals, Initializes the Flash interface and the Systick. */
  HAL_Init();

  /* Configure the system clock */
  SystemClock_Config();

  /* Initialize all configured peripherals */
  MX_GPIO_Init();
  MX_ETH_Init();
  MX_USART3_UART_Init();
  MX_USB_OTG_HS_USB_Init();
  MX_TIM1_Init();
  MX_I2C1_Init();
  MX_USART2_UART_Init();
  MX_TIM3_Init();
  MX_TIM4_Init();
  /* USER CODE BEGIN 2 */

  //start timer
  HAL_TIM_Base_Start(&htim1);
  HAL_TIM_Base_Start(&htim4);

  //enable UART interrupt to receive messages
//  uint8_t uartRxBuffer[30];
  HAL_UART_Receive_IT(&huart2, uartRxBuffer, sizeof(uartRxBuffer));

  //enable encoder mode timer
  HAL_TIM_Encoder_Start(&htim3, TIM_CHANNEL_ALL);

  /* USER CODE END 2 */

  /* Init scheduler */
  osKernelInitialize();

  /* USER CODE BEGIN RTOS_SEMAPHORES */
  /* add semaphores, ... */

  //global semaphore, used for UART and StartArmTask Synchronization
  armTaskSemaphore = osSemaphoreNew(1, 0, NULL);
  //semaphore used for stepper tasks control
  stepperTask1Semaphore = osSemaphoreNew(1, 0, NULL);
  stepperTask2Semaphore = osSemaphoreNew(1, 0, NULL);

  /* USER CODE END RTOS_SEMAPHORES */

  /* Create the thread(s) */
  /* creation of defaultTask */
  defaultTaskHandle = osThreadNew(StartDefaultTask, NULL, &defaultTask_attributes);

  /* creation of parsingTask */
  parsingTaskHandle = osThreadNew(StartParsingTask, NULL, &parsingTask_attributes);

  /* creation of armTask */
  armTaskHandle = osThreadNew(StartArmTask, NULL, &armTask_attributes);

  /* creation of gripperTask */
  gripperTaskHandle = osThreadNew(StartGripperTask, NULL, &gripperTask_attributes);

  /* creation of step1Task */
  step1TaskHandle = osThreadNew(StartStep1Task, NULL, &step1Task_attributes);

  /* creation of step2Task */
  step2TaskHandle = osThreadNew(startStep2Task, NULL, &step2Task_attributes);

  /* Start scheduler */
  osKernelStart();

  /* We should never get here as control is now taken by the scheduler */
  /* Infinite loop */
  /* USER CODE BEGIN WHILE */
  while (1)
  {
	  //freeRTOS tasks used instead
    /* USER CODE END WHILE */

  }
}

void SystemClock_Config(void)
{
  RCC_OscInitTypeDef RCC_OscInitStruct = {0};
  RCC_ClkInitTypeDef RCC_ClkInitStruct = {0};

  /** Supply configuration update enable
  */
  HAL_PWREx_ConfigSupply(PWR_LDO_SUPPLY);

  /** Configure the main internal regulator output voltage
  */
  __HAL_PWR_VOLTAGESCALING_CONFIG(PWR_REGULATOR_VOLTAGE_SCALE0);

  while(!__HAL_PWR_GET_FLAG(PWR_FLAG_VOSRDY)) {}

  /** Initializes the RCC Oscillators according to the specified parameters
  * in the RCC_OscInitTypeDef structure.
  */
  RCC_OscInitStruct.OscillatorType = RCC_OSCILLATORTYPE_HSI48|RCC_OSCILLATORTYPE_HSE;
  RCC_OscInitStruct.HSEState = RCC_HSE_BYPASS;
  RCC_OscInitStruct.HSI48State = RCC_HSI48_ON;
  RCC_OscInitStruct.PLL.PLLState = RCC_PLL_ON;
  RCC_OscInitStruct.PLL.PLLSource = RCC_PLLSOURCE_HSE;
  RCC_OscInitStruct.PLL.PLLM = 4;
  RCC_OscInitStruct.PLL.PLLN = 275;
  RCC_OscInitStruct.PLL.PLLP = 1;
  RCC_OscInitStruct.PLL.PLLQ = 4;
  RCC_OscInitStruct.PLL.PLLR = 2;
  RCC_OscInitStruct.PLL.PLLRGE = RCC_PLL1VCIRANGE_1;
  RCC_OscInitStruct.PLL.PLLVCOSEL = RCC_PLL1VCOWIDE;
  RCC_OscInitStruct.PLL.PLLFRACN = 0;
  if (HAL_RCC_OscConfig(&RCC_OscInitStruct) != HAL_OK)
  {
    Error_Handler();
  }

  /** Initializes the CPU, AHB and APB buses clocks
  */
  RCC_ClkInitStruct.ClockType = RCC_CLOCKTYPE_HCLK|RCC_CLOCKTYPE_SYSCLK
                              |RCC_CLOCKTYPE_PCLK1|RCC_CLOCKTYPE_PCLK2
                              |RCC_CLOCKTYPE_D3PCLK1|RCC_CLOCKTYPE_D1PCLK1;
  RCC_ClkInitStruct.SYSCLKSource = RCC_SYSCLKSOURCE_PLLCLK;
  RCC_ClkInitStruct.SYSCLKDivider = RCC_SYSCLK_DIV1;
  RCC_ClkInitStruct.AHBCLKDivider = RCC_HCLK_DIV2;
  RCC_ClkInitStruct.APB3CLKDivider = RCC_APB3_DIV2;
  RCC_ClkInitStruct.APB1CLKDivider = RCC_APB1_DIV2;
  RCC_ClkInitStruct.APB2CLKDivider = RCC_APB2_DIV2;
  RCC_ClkInitStruct.APB4CLKDivider = RCC_APB4_DIV2;

  if (HAL_RCC_ClockConfig(&RCC_ClkInitStruct, FLASH_LATENCY_3) != HAL_OK)
  {
    Error_Handler();
  }
}

static void MX_ETH_Init(void)
{

   static uint8_t MACAddr[6];

  heth.Instance = ETH;
  MACAddr[0] = 0x00;
  MACAddr[1] = 0x80;
  MACAddr[2] = 0xE1;
  MACAddr[3] = 0x00;
  MACAddr[4] = 0x00;
  MACAddr[5] = 0x00;
  heth.Init.MACAddr = &MACAddr[0];
  heth.Init.MediaInterface = HAL_ETH_RMII_MODE;
  heth.Init.TxDesc = DMATxDscrTab;
  heth.Init.RxDesc = DMARxDscrTab;
  heth.Init.RxBuffLen = 1524;

  if (HAL_ETH_Init(&heth) != HAL_OK)
  {
    Error_Handler();
  }

  memset(&TxConfig, 0 , sizeof(ETH_TxPacketConfig));
  TxConfig.Attributes = ETH_TX_PACKETS_FEATURES_CSUM | ETH_TX_PACKETS_FEATURES_CRCPAD;
  TxConfig.ChecksumCtrl = ETH_CHECKSUM_IPHDR_PAYLOAD_INSERT_PHDR_CALC;
  TxConfig.CRCPadCtrl = ETH_CRC_PAD_INSERT;

}

static void MX_I2C1_Init(void)
{

  hi2c1.Instance = I2C1;
  hi2c1.Init.Timing = 0x60404E72;
  hi2c1.Init.OwnAddress1 = 0;
  hi2c1.Init.AddressingMode = I2C_ADDRESSINGMODE_7BIT;
  hi2c1.Init.DualAddressMode = I2C_DUALADDRESS_DISABLE;
  hi2c1.Init.OwnAddress2 = 0;
  hi2c1.Init.OwnAddress2Masks = I2C_OA2_NOMASK;
  hi2c1.Init.GeneralCallMode = I2C_GENERALCALL_DISABLE;
  hi2c1.Init.NoStretchMode = I2C_NOSTRETCH_DISABLE;
  if (HAL_I2C_Init(&hi2c1) != HAL_OK)
  {
    Error_Handler();
  }

  /** Configure Analogue filter
  */
  if (HAL_I2CEx_ConfigAnalogFilter(&hi2c1, I2C_ANALOGFILTER_ENABLE) != HAL_OK)
  {
    Error_Handler();
  }

  /** Configure Digital filter
  */
  if (HAL_I2CEx_ConfigDigitalFilter(&hi2c1, 0) != HAL_OK)
  {
    Error_Handler();
  }

}

static void MX_TIM1_Init(void)
{

  TIM_ClockConfigTypeDef sClockSourceConfig = {0};
  TIM_MasterConfigTypeDef sMasterConfig = {0};

  htim1.Instance = TIM1;
  htim1.Init.Prescaler = 71;
  htim1.Init.CounterMode = TIM_COUNTERMODE_UP;
  htim1.Init.Period = 65535;
  htim1.Init.ClockDivision = TIM_CLOCKDIVISION_DIV1;
  htim1.Init.RepetitionCounter = 0;
  htim1.Init.AutoReloadPreload = TIM_AUTORELOAD_PRELOAD_DISABLE;
  if (HAL_TIM_Base_Init(&htim1) != HAL_OK)
  {
    Error_Handler();
  }
  sClockSourceConfig.ClockSource = TIM_CLOCKSOURCE_INTERNAL;
  if (HAL_TIM_ConfigClockSource(&htim1, &sClockSourceConfig) != HAL_OK)
  {
    Error_Handler();
  }
  sMasterConfig.MasterOutputTrigger = TIM_TRGO_RESET;
  sMasterConfig.MasterOutputTrigger2 = TIM_TRGO2_RESET;
  sMasterConfig.MasterSlaveMode = TIM_MASTERSLAVEMODE_DISABLE;
  if (HAL_TIMEx_MasterConfigSynchronization(&htim1, &sMasterConfig) != HAL_OK)
  {
    Error_Handler();
  }

}

static void MX_TIM3_Init(void)
{

  TIM_Encoder_InitTypeDef sConfig = {0};
  TIM_MasterConfigTypeDef sMasterConfig = {0};

  /* USER CODE BEGIN TIM3_Init 1 */
  //for stepper encoder ----------------
  /* USER CODE END TIM3_Init 1 */
  htim3.Instance = TIM3;
  htim3.Init.Prescaler = 0;
  htim3.Init.CounterMode = TIM_COUNTERMODE_UP;
  htim3.Init.Period = 65535;
  htim3.Init.ClockDivision = TIM_CLOCKDIVISION_DIV1;
  htim3.Init.AutoReloadPreload = TIM_AUTORELOAD_PRELOAD_DISABLE;
  sConfig.EncoderMode = TIM_ENCODERMODE_TI12;
  sConfig.IC1Polarity = TIM_ICPOLARITY_RISING;
  sConfig.IC1Selection = TIM_ICSELECTION_DIRECTTI;
  sConfig.IC1Prescaler = TIM_ICPSC_DIV1;
  sConfig.IC1Filter = 0;
  sConfig.IC2Polarity = TIM_ICPOLARITY_RISING;
  sConfig.IC2Selection = TIM_ICSELECTION_DIRECTTI;
  sConfig.IC2Prescaler = TIM_ICPSC_DIV1;
  sConfig.IC2Filter = 0;
  if (HAL_TIM_Encoder_Init(&htim3, &sConfig) != HAL_OK)
  {
    Error_Handler();
  }
  sMasterConfig.MasterOutputTrigger = TIM_TRGO_RESET;
  sMasterConfig.MasterSlaveMode = TIM_MASTERSLAVEMODE_DISABLE;
  if (HAL_TIMEx_MasterConfigSynchronization(&htim3, &sMasterConfig) != HAL_OK)
  {
    Error_Handler();
  }

}

static void MX_TIM4_Init(void)
{

  TIM_ClockConfigTypeDef sClockSourceConfig = {0};
  TIM_MasterConfigTypeDef sMasterConfig = {0};

  htim4.Instance = TIM4;
  htim4.Init.Prescaler = 71;
  htim4.Init.CounterMode = TIM_COUNTERMODE_UP;
  htim4.Init.Period = 65535;
  htim4.Init.ClockDivision = TIM_CLOCKDIVISION_DIV1;
  htim4.Init.AutoReloadPreload = TIM_AUTORELOAD_PRELOAD_DISABLE;
  if (HAL_TIM_Base_Init(&htim4) != HAL_OK)
  {
    Error_Handler();
  }
  sClockSourceConfig.ClockSource = TIM_CLOCKSOURCE_INTERNAL;
  if (HAL_TIM_ConfigClockSource(&htim4, &sClockSourceConfig) != HAL_OK)
  {
    Error_Handler();
  }
  sMasterConfig.MasterOutputTrigger = TIM_TRGO_RESET;
  sMasterConfig.MasterSlaveMode = TIM_MASTERSLAVEMODE_DISABLE;
  if (HAL_TIMEx_MasterConfigSynchronization(&htim4, &sMasterConfig) != HAL_OK)
  {
    Error_Handler();
  }

}

static void MX_USART2_UART_Init(void)
{

  huart2.Instance = USART2;
  huart2.Init.BaudRate = 115200;
  huart2.Init.WordLength = UART_WORDLENGTH_8B;
  huart2.Init.StopBits = UART_STOPBITS_1;
  huart2.Init.Parity = UART_PARITY_NONE;
  huart2.Init.Mode = UART_MODE_TX_RX;
  huart2.Init.HwFlowCtl = UART_HWCONTROL_NONE;
  huart2.Init.OverSampling = UART_OVERSAMPLING_16;
  huart2.Init.OneBitSampling = UART_ONE_BIT_SAMPLE_DISABLE;
  huart2.Init.ClockPrescaler = UART_PRESCALER_DIV1;
  huart2.AdvancedInit.AdvFeatureInit = UART_ADVFEATURE_NO_INIT;
  if (HAL_UART_Init(&huart2) != HAL_OK)
  {
    Error_Handler();
  }
  if (HAL_UARTEx_SetTxFifoThreshold(&huart2, UART_TXFIFO_THRESHOLD_1_8) != HAL_OK)
  {
    Error_Handler();
  }
  if (HAL_UARTEx_SetRxFifoThreshold(&huart2, UART_RXFIFO_THRESHOLD_1_8) != HAL_OK)
  {
    Error_Handler();
  }
  if (HAL_UARTEx_DisableFifoMode(&huart2) != HAL_OK)
  {
    Error_Handler();
  }

}

static void MX_USART3_UART_Init(void)
{

  huart3.Instance = USART3;
  huart3.Init.BaudRate = 115200;
  huart3.Init.WordLength = UART_WORDLENGTH_8B;
  huart3.Init.StopBits = UART_STOPBITS_1;
  huart3.Init.Parity = UART_PARITY_NONE;
  huart3.Init.Mode = UART_MODE_TX_RX;
  huart3.Init.HwFlowCtl = UART_HWCONTROL_NONE;
  huart3.Init.OverSampling = UART_OVERSAMPLING_16;
  huart3.Init.OneBitSampling = UART_ONE_BIT_SAMPLE_DISABLE;
  huart3.Init.ClockPrescaler = UART_PRESCALER_DIV1;
  huart3.AdvancedInit.AdvFeatureInit = UART_ADVFEATURE_NO_INIT;
  if (HAL_UART_Init(&huart3) != HAL_OK)
  {
    Error_Handler();
  }
  if (HAL_UARTEx_SetTxFifoThreshold(&huart3, UART_TXFIFO_THRESHOLD_1_8) != HAL_OK)
  {
    Error_Handler();
  }
  if (HAL_UARTEx_SetRxFifoThreshold(&huart3, UART_RXFIFO_THRESHOLD_1_8) != HAL_OK)
  {
    Error_Handler();
  }
  if (HAL_UARTEx_DisableFifoMode(&huart3) != HAL_OK)
  {
    Error_Handler();
  }

}

static void MX_USB_OTG_HS_USB_Init(void)
{

}

static void MX_GPIO_Init(void)
{
  GPIO_InitTypeDef GPIO_InitStruct = {0};

  /* GPIO Ports Clock Enable */
  __HAL_RCC_GPIOE_CLK_ENABLE();
  __HAL_RCC_GPIOC_CLK_ENABLE();
  __HAL_RCC_GPIOH_CLK_ENABLE();
  __HAL_RCC_GPIOA_CLK_ENABLE();
  __HAL_RCC_GPIOB_CLK_ENABLE();
  __HAL_RCC_GPIOD_CLK_ENABLE();
  __HAL_RCC_GPIOG_CLK_ENABLE();

  /*Configure GPIO pin Output Level */
  HAL_GPIO_WritePin(GPIOE, GPIO_PIN_3|GPIO_PIN_4|GPIO_PIN_5|GPIO_PIN_6
                          |LED_YELLOW_Pin, GPIO_PIN_RESET);

  /*Configure GPIO pin Output Level */
  HAL_GPIO_WritePin(GPIOA, GPIO_PIN_5|GPIO_PIN_6, GPIO_PIN_RESET);

  /*Configure GPIO pin Output Level */
  HAL_GPIO_WritePin(GPIOB, LED_GREEN_Pin|LED_RED_Pin|GPIO_PIN_5|GPIO_PIN_6, GPIO_PIN_RESET);

  /*Configure GPIO pin Output Level */
  HAL_GPIO_WritePin(USB_FS_PWR_EN_GPIO_Port, USB_FS_PWR_EN_Pin, GPIO_PIN_RESET);

  /*Configure GPIO pins : PE3 PE4 PE5 PE6
                           LED_YELLOW_Pin */
  GPIO_InitStruct.Pin = GPIO_PIN_3|GPIO_PIN_4|GPIO_PIN_5|GPIO_PIN_6
                          |LED_YELLOW_Pin;
  GPIO_InitStruct.Mode = GPIO_MODE_OUTPUT_PP;
  GPIO_InitStruct.Pull = GPIO_NOPULL;
  GPIO_InitStruct.Speed = GPIO_SPEED_FREQ_LOW;
  HAL_GPIO_Init(GPIOE, &GPIO_InitStruct);

  /*Configure GPIO pin : B1_Pin */
  GPIO_InitStruct.Pin = B1_Pin;
  GPIO_InitStruct.Mode = GPIO_MODE_INPUT;
  GPIO_InitStruct.Pull = GPIO_NOPULL;
  HAL_GPIO_Init(B1_GPIO_Port, &GPIO_InitStruct);

  /*Configure GPIO pins : PA5 PA6 */
  GPIO_InitStruct.Pin = GPIO_PIN_5|GPIO_PIN_6;
  GPIO_InitStruct.Mode = GPIO_MODE_OUTPUT_PP;
  GPIO_InitStruct.Pull = GPIO_NOPULL;
  GPIO_InitStruct.Speed = GPIO_SPEED_FREQ_LOW;
  HAL_GPIO_Init(GPIOA, &GPIO_InitStruct);

  /*Configure GPIO pins : LED_GREEN_Pin LED_RED_Pin PB5 PB6 */
  GPIO_InitStruct.Pin = LED_GREEN_Pin|LED_RED_Pin|GPIO_PIN_5|GPIO_PIN_6;
  GPIO_InitStruct.Mode = GPIO_MODE_OUTPUT_PP;
  GPIO_InitStruct.Pull = GPIO_NOPULL;
  GPIO_InitStruct.Speed = GPIO_SPEED_FREQ_LOW;
  HAL_GPIO_Init(GPIOB, &GPIO_InitStruct);

  /*Configure GPIO pin : USB_FS_PWR_EN_Pin */
  GPIO_InitStruct.Pin = USB_FS_PWR_EN_Pin;
  GPIO_InitStruct.Mode = GPIO_MODE_OUTPUT_PP;
  GPIO_InitStruct.Pull = GPIO_NOPULL;
  GPIO_InitStruct.Speed = GPIO_SPEED_FREQ_LOW;
  HAL_GPIO_Init(USB_FS_PWR_EN_GPIO_Port, &GPIO_InitStruct);

  /*Configure GPIO pin : USB_FS_OVCR_Pin */
  GPIO_InitStruct.Pin = USB_FS_OVCR_Pin;
  GPIO_InitStruct.Mode = GPIO_MODE_IT_RISING;
  GPIO_InitStruct.Pull = GPIO_NOPULL;
  HAL_GPIO_Init(USB_FS_OVCR_GPIO_Port, &GPIO_InitStruct);

  /*Configure GPIO pin : USB_FS_VBUS_Pin */
  GPIO_InitStruct.Pin = USB_FS_VBUS_Pin;
  GPIO_InitStruct.Mode = GPIO_MODE_INPUT;
  GPIO_InitStruct.Pull = GPIO_NOPULL;
  HAL_GPIO_Init(USB_FS_VBUS_GPIO_Port, &GPIO_InitStruct);

  /*Configure GPIO pin : USB_FS_ID_Pin */
  GPIO_InitStruct.Pin = USB_FS_ID_Pin;
  GPIO_InitStruct.Mode = GPIO_MODE_AF_PP;
  GPIO_InitStruct.Pull = GPIO_NOPULL;
  GPIO_InitStruct.Speed = GPIO_SPEED_FREQ_LOW;
  GPIO_InitStruct.Alternate = GPIO_AF10_OTG1_HS;
  HAL_GPIO_Init(USB_FS_ID_GPIO_Port, &GPIO_InitStruct);

}

/* USER CODE BEGIN 4 */
//	GPIO_InitStruct.Pin = GPIO_PIN_8|GPIO_PIN_9;
//	GPIO_InitStruct.Mode = GPIO_MODE_OUTPUT_PP;
//	GPIO_InitStruct.Pull = GPIO_NOPULL;
//	GPIO_InitStruct.Speed = GPIO_SPEED_FREQ_LOW;
//	HAL_GPIO_Init(GPIOB, &GPIO_InitStruct);
/* USER CODE END 4 */

void StartDefaultTask(void *argument)
{
  for(;;)
  {
    osDelay(1);
  }
}

void StartParsingTask(void *argument)
{
  for(;;)
  {
    osDelay(1);
  }
}

void StartArmTask(void *argument)
{
  /* USER CODE BEGIN StartArmTask */

	int status = PCA9685_Init(&hi2c1);
	uint8_t ActiveServo = 15;

	// for stepper control
	float targetAngle = 360.0f; //arbitrary for now
	float currStepperAngle = 0.0f;
	int stepperRPM = 15;

	//angles to track inverse kinematics func return
	float j1_angle, j2_angle, j3_angle;

//	osSemaphoreRelease(armTaskSemaphore);

	for(;;) {
		char str[64] = {0};
		snprintf(str, sizeof(str), "\nWaiting for Semaphore (UART interrupt)\n");
		//use non blocking UART Transmit instead of regular (which blocks)
		HAL_UART_Transmit_IT(&huart3, (uint8_t*)str, sizeof (str));

		//Acquire Semaphore (Wait for UART Signal)
//		osSemaphoreAcquire(armTaskSemaphore, osWaitForever); // COMMENT WHEN TESTING MOTORS BY THEMSELVES, UNCOMMENT WHEN WITH NANO

		///*

		//working grab water bottle and go up!!

//		PCA9685_SetServoAngle(12, 20);  // Set to 0°
//
//		//--- New Stepper Control Section ---//
//	    // Release both stepper semaphores simultaneously to complete stepper tasks
//	    osSemaphoreRelease(stepperTask1Semaphore);
//	    osSemaphoreRelease(stepperTask2Semaphore);
//
//		//wait until stepper tasks completed
//	    osSemaphoreAcquire(armTaskSemaphore, osWaitForever);
//	    osSemaphoreAcquire(armTaskSemaphore, osWaitForever);

//		osSemaphoreAcquire(armTaskSemaphore, osWaitForever);

		PCA9685_SetServoAngle_DS3225(15, 90);  // Set to 0°
		PCA9685_SetServoAngle_DS3225(14, 180);  // Set to 0°
		PCA9685_SetServoAngle(13, 90);  // Set to 0°
		PCA9685_SetServoAngle(12, 80);
		osDelay(pdMS_TO_TICKS(2000));

		PCA9685_SetServoAngle(12, 20);

		//potential small delay before gripper
		osDelay(pdMS_TO_TICKS(800));

		PCA9685_SetServoAngle_DS3225(15, 55);  // Set to 0°
		osDelay(pdMS_TO_TICKS(800));

		PCA9685_SetServoAngle_DS3225(14, 50);  // Set to 0°
		osDelay(pdMS_TO_TICKS(800));

		PCA9685_SetServoAngle(13, 30);
		osDelay(pdMS_TO_TICKS(3000));

		//--- New Stepper Control Section ---//
		// Release both stepper semaphores simultaneously to complete stepper tasks
		osSemaphoreRelease(stepperTask1Semaphore);
		osSemaphoreRelease(stepperTask2Semaphore);

		//wait until stepper tasks completed
		osSemaphoreAcquire(armTaskSemaphore, osWaitForever);
		osSemaphoreAcquire(armTaskSemaphore, osWaitForever);

		//let go of object
//		PCA9685_SetServoAngle_DS3225(15, 90);  // Set to 0°
//		PCA9685_SetServoAngle_DS3225(14, 180);  // Set to 0°
//		PCA9685_SetServoAngle(13, 90);  // Set to 0°
//		PCA9685_SetServoAngle(12, 80);
//		osDelay(pdMS_TO_TICKS(2000));

//		motorOff();

		//encoder funcs -----------
//		//read encoder count (position) only relying on A+, B+
//		int16_t encoder_position = __HAL_TIM_GET_COUNTER(&htim3);
//		//to reset counter
//		__HAL_TIM_SET_COUNTER(&htim3, 0);
//		//get current direction:
//		uwDirection = __HAL_TIM_IS_TIM_COUNTING_DOWN(&htim3);

//		//TO TEST - encoder control with steppers:
//        // Read encoder position
//        encoder_position = __HAL_TIM_GET_COUNTER(&htim3);
//        //target position should be obtained from UART interrupt
//        error = target_position - encoder_position;
//
//        // Move stepper motors until target position is reached
//        while (abs(error) > ERROR_THRESHOLD) {
//            if (error > 0) {
//                // Move forward (clockwise)
//                synchronizedStep(1, 5000); // Move 1 step forward
//            } else {
//                // Move backward (counter-clockwise)
//                synchronizedStep(-1, 5000); // Move 1 step backward
//            }
//
//            // Update encoder position and error
//            encoder_position = __HAL_TIM_GET_COUNTER(&htim3);
//            error = target_position - encoder_position;
//        }
//
//        // Reset encoder counter (optional)
//        __HAL_TIM_SET_COUNTER(&htim3, 0);

		//test servo control
		//		//default values
//		PCA9685_SetServoAngle_DS3225(15, 0);  // Set to 0°
//		PCA9685_SetServoAngle_DS3225(14, 0);  // Set to 0°
//		PCA9685_SetServoAngle(13, 0);  // Set to 0°
//		PCA9685_SetServoAngle(12, 0);  // Set to 0°
//		PCA9685_SetServoAngle(0, 0);  // Set to 0°
//		osDelay(pdMS_TO_TICKS(2000));
//		PCA9685_SetServoAngle_DS3225(15, 90);  // Set to 90°
//		PCA9685_SetServoAngle_DS3225(14, 180);  // Set to 90°
//		PCA9685_SetServoAngle(13, 90);  // Set to 90°
//		PCA9685_SetServoAngle(12, 80);  // Set to 80°

		//tested values
//		PCA9685_SetServoAngle_DS3225(15, 80);  // Set to 90°
//		PCA9685_SetServoAngle_DS3225(14, 155);  // Set to 90°
//		PCA9685_SetServoAngle(13, 50);  // Set to 90°
//		PCA9685_SetServoAngle(12, 0);  // Set to 80°

//		    PCA9685_SetServoAngle(0, 80);  // Set to 0°

//		PCA9685_SetServoAngle_DS3225(15, 80);
//		PCA9685_SetServoAngle_DS3225(14, 155);
//		PCA9685_SetServoAngle(13, 50);

		 // */

//	    //uart integration ------------------------------ TO TEST
//	    // Check start and end delimiters
//		if (uartRxBuffer[0] == '!' && uartRxBuffer[14] == '#' && uartRxBuffer[15] == '#')
//		{
//			uint8_t command_type = uartRxBuffer[1];
//
//			/* Message Format: StartDelimiter(!) | Command(1B) | X(4B) | Y(4B) | Z(4B) | EndDelimiter(#)
//			* message = struct.pack('!cB3f3s',
//			* b'!', # Start delimiter
//			* command_type, # 1 byte
//			* x, y, z, # 3 floats (4 bytes each)
//			* b'##') # End delimiter (2 bytes)
//			*/
//
//
//			// Extract x, y, z from uart msg(convert from big-endian to little-endian)
//			uint32_t x_uint, y_uint, z_uint;
//			float x, y, z;
//
//			memcpy(&x_uint, &uartRxBuffer[2], 4);
//			x_uint = __REV(x_uint); // Reverse bytes for little-endian
//			memcpy(&x, &x_uint, sizeof(float));
//
//			memcpy(&y_uint, &uartRxBuffer[6], 4);
//			y_uint = __REV(y_uint);
//			memcpy(&y, &y_uint, sizeof(float));
//
//			memcpy(&z_uint, &uartRxBuffer[10], 4);
//			z_uint = __REV(z_uint);
//			memcpy(&z, &z_uint, sizeof(float));
//
//			// Debug message
//			char debugMsg[64];
//			sprintf(debugMsg, "CMD: %d, X: %.2f, Y: %.2f, Z: %.2f\n", command_type, x, y, z);
//			HAL_UART_Transmit_IT(&huart3, (uint8_t*)debugMsg, strlen(debugMsg));
//
//
//		    // Release both stepper semaphores simultaneously to complete stepper tasks
//		    osSemaphoreRelease(stepperTask1Semaphore);
//		    osSemaphoreRelease(stepperTask2Semaphore);
//
//			//wait until stepper tasks completed to continue (platform reaches expected height)
//		    osSemaphoreAcquire(armTaskSemaphore, osWaitForever);
//		    osSemaphoreAcquire(armTaskSemaphore, osWaitForever);
//
//
//			// Process the command (PICK or PLACE)
//			// Use inverse kinematics to calculate joint angles
//			float j1, j2, j3;
//			bool ik_success = ikinematics(x, y, 90.0f, &j1, &j2, &j3); // Assuming gamma is 90 degrees
//
//			if (ik_success) {
//				// Set servo angles based on IK results
//				PCA9685_SetServoAngle_DS3225(15, j1);
//				PCA9685_SetServoAngle_DS3225(14, j2);
//				PCA9685_SetServoAngle(13, j3);
//
////				//potential small delay before gripper
////				osDelay(pdMS_TO_TICKS(800));
//
//				// control gripper based on command type
//				if (command_type == 0) { // PICK - close gripper
//					PCA9685_SetServoAngle(0, 0);
//				} else { // PLACE - open gripper
//					PCA9685_SetServoAngle(0, 80);
//				}
//			} else {
//				HAL_UART_Transmit_IT(&huart3, (uint8_t*)"IK Error\n", 9);
//			}
//		} else {
//			HAL_UART_Transmit_IT(&huart3, (uint8_t*)"Invalid UART Msg\n", 14);
//		}
//
//		// clear buffer for extra safety (next reception will overwrite)
//		memset(uartRxBuffer, 0, sizeof(uartRxBuffer));

//		//harcoded gripper test
//		osSemaphoreAcquire(armTaskSemaphore, osWaitForever);
//
//		PCA9685_SetServoAngle_DS3225(15, 90);
//		PCA9685_SetServoAngle_DS3225(14, 180);
//		PCA9685_SetServoAngle(13, 90);
//		PCA9685_SetServoAngle(12, 80);
//		osDelay(pdMS_TO_TICKS(2000));
//
////		//potential small delay before gripper
////		osDelay(pdMS_TO_TICKS(800));
////		PCA9685_SetServoAngle(12, 0);
////
////		osDelay(pdMS_TO_TICKS(800));
////
////		PCA9685_SetServoAngle_DS3225(15, 55);  // Set to 0°
////		osDelay(pdMS_TO_TICKS(800));
////
////
////		PCA9685_SetServoAngle_DS3225(14, 125);  // Set to 0°
////		osDelay(pdMS_TO_TICKS(800));
////
////
////		PCA9685_SetServoAngle(13, 30);
////		osDelay(pdMS_TO_TICKS(800));

//	    //test just UART msg with stepper for now:
//		if (uartRxBuffer[0] == '!' && uartRxBuffer[14] == '#' && uartRxBuffer[15] == '#')
//		{
//			uint8_t command_type = uartRxBuffer[1];
//
//			/* Message Format: StartDelimiter(!) | Command(1B) | X(4B) | Y(4B) | Z(4B) | EndDelimiter(#)
//			* message = struct.pack('!cB3f3s',
//			* b'!', # Start delimiter
//			* command_type, # 1 byte
//			* x, y, z, # 3 floats (4 bytes each)
//			* b'##') # End delimiter (2 bytes)
//			*/
//
//
//			// Extract x, y, z from uart msg(convert from big-endian to little-endian)
//			uint32_t x_uint, y_uint, z_uint;
//			float x, y, z;
//
//			memcpy(&x_uint, &uartRxBuffer[2], 4);
//			x_uint = __REV(x_uint); // Reverse bytes for little-endian
//			memcpy(&x, &x_uint, sizeof(float));
//
//			memcpy(&y_uint, &uartRxBuffer[6], 4);
//			y_uint = __REV(y_uint);
//			memcpy(&y, &y_uint, sizeof(float));
//
//			memcpy(&z_uint, &uartRxBuffer[10], 4);
//			z_uint = __REV(z_uint);
//			memcpy(&z, &z_uint, sizeof(float));
//
//			// Debug message
//			char debugMsg[64];
//			snprintf(debugMsg, sizeof(debugMsg), "CMD: %d, X: %.2f, Y: %.2f, Z: %.2f\n", command_type, x, y, z);
////			sprintf(debugMsg, "CMD: %d, X: %d.%02d, Y: %d.%02d, Z: %d.%02d\n",
////			    command_type,
////			    (int)x, (int)(x * 100) % 100,
////			    (int)y, (int)(y * 100) % 100,
////			    (int)z, (int)(z * 100) % 100);
//			HAL_UART_Transmit_IT(&huart3, (uint8_t*)debugMsg, strlen(debugMsg));
//
//
////			// Release both stepper semaphores simultaneously to complete stepper tasks
////			osSemaphoreRelease(stepperTask1Semaphore);
////			osSemaphoreRelease(stepperTask2Semaphore);
////
////			//wait until stepper tasks completed to continue (platform reaches expected height)
////			osSemaphoreAcquire(armTaskSemaphore, osWaitForever);
////			osSemaphoreAcquire(armTaskSemaphore, osWaitForever);
//
////			//test servo control
////			PCA9685_SetServoAngle_DS3225(15, 0);  // Set to 0°
////			PCA9685_SetServoAngle_DS3225(14, 0);  // Set to 0°
////			PCA9685_SetServoAngle(13, 0);  // Set to 0°
////			PCA9685_SetServoAngle(12, 0);  // Set to 0°
//////			PCA9685_SetServoAngle(0, 0);  // Set to 0°
////
////			char str2[64] = {0};
////			snprintf(str2, sizeof(str2), "Servo Set to 0\n");
////			HAL_UART_Transmit_IT(&huart3, (uint8_t*)str2, sizeof (str2));
////
////	////	    HAL_Delay(500);  // Wait for 500 ms
////		    osDelay(pdMS_TO_TICKS(2000));
////			PCA9685_SetServoAngle_DS3225(15, 90);  // Set to 0°
////			PCA9685_SetServoAngle_DS3225(14, 90);  // Set to 0°
////			PCA9685_SetServoAngle(13, 90);  // Set to 0°
////			PCA9685_SetServoAngle(12, 80);  // Set to 0°
//
//
//			//harcoded gripper test
////			osSemaphoreAcquire(armTaskSemaphore, osWaitForever);
//
////			PCA9685_SetServoAngle_DS3225(15, 90);
////			PCA9685_SetServoAngle_DS3225(14, 180);
////			PCA9685_SetServoAngle(13, 90);
////			PCA9685_SetServoAngle(12, 80);
////			osDelay(pdMS_TO_TICKS(2000));
//
//			//potential small delay before gripper
//			osDelay(pdMS_TO_TICKS(800));
//			PCA9685_SetServoAngle(12, 0);
//
//			osDelay(pdMS_TO_TICKS(800));
//
//			PCA9685_SetServoAngle_DS3225(15, 55);  // Set to 0°
//			osDelay(pdMS_TO_TICKS(800));
//
//
//			PCA9685_SetServoAngle_DS3225(14, 125);  // Set to 0°
//			osDelay(pdMS_TO_TICKS(800));
//
//
//			PCA9685_SetServoAngle(13, 30);
//			osDelay(pdMS_TO_TICKS(800));
//
//
//		    clearBuffer(uartRxBuffer, sizeof(uartRxBuffer));
//	//	    HAL_UART_Receive_IT(&huart2, uartRxBuffer, sizeof(uartRxBuffer));
//
//		} else {
//			HAL_UART_Transmit_IT(&huart3, (uint8_t*)"Invalid UART Msg\n", 14);
//		}
//
//		// clear buffer for extra safety (next reception will overwrite)
//		memset(uartRxBuffer, 0, sizeof(uartRxBuffer));
//
//

	}
  /* USER CODE END StartArmTask */
}

void StartGripperTask(void *argument)
{
  for(;;)
  {
    osDelay(1);
  }
}

void StartStep1Task(void *argument)
{
  /* USER CODE BEGIN StartStep1Task */
  /* Infinite loop */
  for(;;)
  {
	osSemaphoreAcquire(stepperTask1Semaphore, osWaitForever);
	// Run motor 1 movement
	//up    -     8000 delay works
	stepCV(16000, 28000000, M1_IN1_PORT, M1_IN1_PIN, M1_IN2_PORT, M1_IN2_PIN,
		  M1_IN3_PORT, M1_IN3_PIN, M1_IN4_PORT, M1_IN4_PIN);
	//down
//	stepCCV(800, 600000, M1_IN1_PORT, M1_IN1_PIN, M1_IN2_PORT, M1_IN2_PIN,
//		  M1_IN3_PORT, M1_IN3_PIN, M1_IN4_PORT, M1_IN4_PIN);
	osSemaphoreRelease(armTaskSemaphore); // Notify completion
//    osDelay(1);
  }
  /* USER CODE END StartStep1Task */
}

void startStep2Task(void *argument)
{
  /* USER CODE BEGIN startStep2Task */
  /* Infinite loop */
  for(;;)
  {
	osSemaphoreAcquire(stepperTask2Semaphore, osWaitForever);
	// Run motor 2 movement
	//down
//	step2CV(800, 600000, M2_IN1_PORT, M2_IN1_PIN, M2_IN2_PORT, M2_IN2_PIN,
//			M2_IN3_PORT, M2_IN3_PIN, M2_IN4_PORT, M2_IN4_PIN);
	//up
	step2CCV(16000, 28000000, M2_IN1_PORT, M2_IN1_PIN, M2_IN2_PORT, M2_IN2_PIN,
			M2_IN3_PORT, M2_IN3_PIN, M2_IN4_PORT, M2_IN4_PIN);
	osSemaphoreRelease(armTaskSemaphore); // Notify completion
//    osDelay(1);
  }
  /* USER CODE END startStep2Task */
}

void HAL_TIM_PeriodElapsedCallback(TIM_HandleTypeDef *htim)
{
  if (htim->Instance == TIM6) {
    HAL_IncTick();
  }
}

void Error_Handler(void)
{
  __disable_irq();
  while (1)
  {
  }
}
